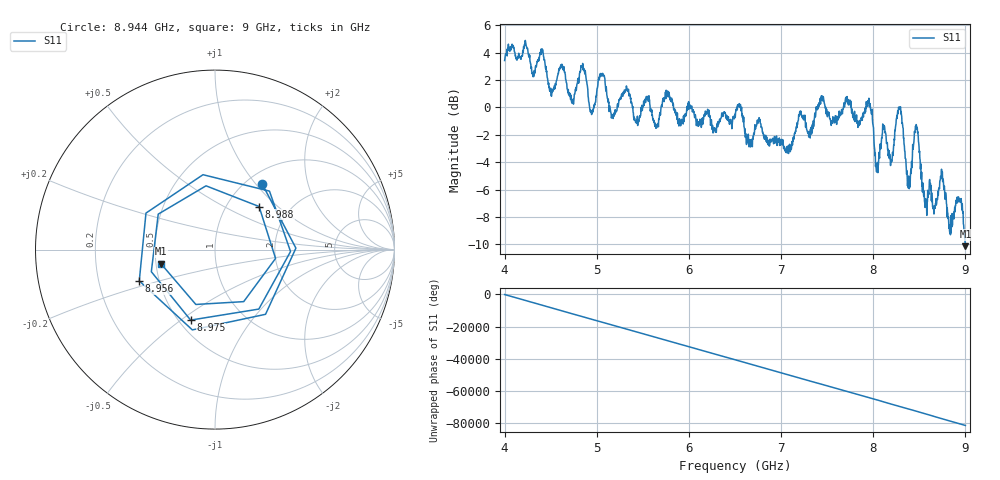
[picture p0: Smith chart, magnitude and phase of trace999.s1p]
! Created with skrf 1.8.0 (http://scikit-rf.org).
# Hz S RI R 50.0
!freq ReS11 ImS11
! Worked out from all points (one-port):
!   1601 points, 4 GHz to 9 GHz, reference 50 ohm
!   lowest |S11| = -10.1 dB at 9 GHz (marker M1), VSWR 1.90, Z = 26.6 - j4.59 ohm
!   |S11| at or under -10 dB: 8.998835 GHz to end of sweep
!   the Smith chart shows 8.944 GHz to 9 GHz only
!   S11 on the Smith chart (normalised r, x): 8.944 GHz: 1.18, +1.08; 8.956 GHz: 0.39, -0.17; 8.975 GHz: 0.57, -0.54; 8.988 GHz: 1.41, +0.77; 9 GHz: 0.53, -0.09
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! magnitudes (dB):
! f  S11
! 4 GHz  3.4
! 4.403 GHz  4.2
! 4.509 GHz  0.8
! 4.625 GHz  3.1
! 4.731 GHz  0.3
! 4.853 GHz  2.7
! 4.944 GHz  -0.5
! 5.056 GHz  2.3
! 5.159 GHz  -0.8
! 5.25 GHz  0.6
! 5.875 GHz  -0.4
! 6.5 GHz  -0.5
! 7.125 GHz  -2.7
! 7.438 GHz  0.9
! 7.75 GHz  0.2
! 7.966 GHz  0.3
! 8.044 GHz  -4.6
! 8.112 GHz  -1.6
! 8.2 GHz  -4.0
! 8.288 GHz  0.0
! 8.375 GHz  -5.4
! 8.469 GHz  -1.3
! 8.569 GHz  -6.7
! 8.944 GHz  -6.9
! 8.956 GHz  -6.8
! 8.975 GHz  -7.6
! 8.988 GHz  -9.3
! 9 GHz  -10.1
